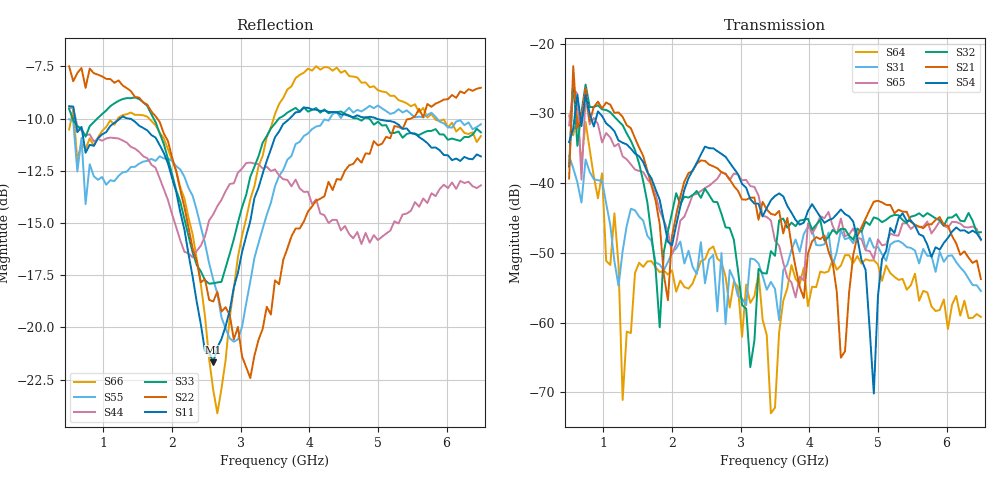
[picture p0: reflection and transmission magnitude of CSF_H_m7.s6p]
!Keysight Technologies,M9804A,MY58100912,A.14.10.03
!Date: Thursday, April 27, 2023 10:28:33
!Correction: S11(C  6-Port  )
!S12(C  6-Port  )
!S13(C  6-Port  )
!S14(C  6-Port  )
!S15(C  6-Port  )
!S16(C  6-Port  )
!S21(C  6-Port  )
!S22(C  6-Port  )
!S23(C  6-Port  )
!S24(C  6-Port  )
!S25(C  6-Port  )
!S26(C  6-Port  )
!S31(C  6-Port  )
!S32(C  6-Port  )
!S33(C  6-Port  )
!S34(C  6-Port  )
!S35(C  6-Port  )
!S36(C  6-Port  )
!S41(C  6-Port  )
!S42(C  6-Port  )
!S43(C  6-Port  )
!S44(C  6-Port  )
!S45(C  6-Port  )
!S46(C  6-Port  )
!S51(C  6-Port  )
!S52(C  6-Port  )
!S53(C  6-Port  )
!S54(C  6-Port  )
!S55(C  6-Port  )
!S56(C  6-Port  )
!S61(C  6-Port  )
!S62(C  6-Port  )
!S63(C  6-Port  )
!S64(C  6-Port  )
!S65(C  6-Port  )
!S66(C  6-Port  )
!S6P File: Measurement: :
# Hz S  RI  R 50
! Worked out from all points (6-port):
!   101 points, 500 MHz to 6.5 GHz, reference 50 ohm
!   strongest paths, dB at 500 MHz, 2 GHz, 3.5 GHz, 5 GHz, 6.5 GHz:
!     S54: -34.1, -48.9, -41.9, -56.2, -48.1
!     S21: -39.4, -47.5, -44.6, -42.5, -53.8
!     S32: -37.6, -44.2, -50.4, -45.1, -47.0
!     S65: -31.7, -50.2, -48.3, -48.1, -48.2
!     S31: -36.1, -50.0, -55.2, -49.2, -55.5
!     S64: -30.3, -52.5, -72.2, -51.6, -59.2
!   lowest |S11| = -21.7 dB at 2.6 GHz (marker M1), VSWR 1.18, Z = 42.6 + j2 ohm
!   |S11| at or under -10 dB: 588.1 MHz to 1.243 GHz (654.7 MHz wide, 71.5 % of centre); 1.369 GHz to 3.713 GHz (2.345 GHz wide, 92.3 % of centre); 4.976 GHz to end of sweep
